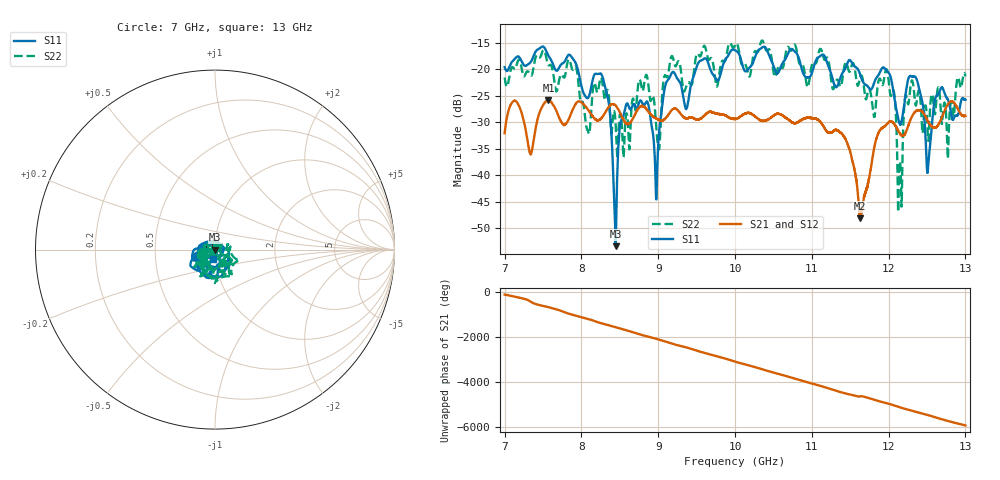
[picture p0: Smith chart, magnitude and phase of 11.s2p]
[Version] 2.0
! Rohde & Schwarz Vector Network Analyzer
! Rohde-Schwarz,ZNL20-2Port,1323001220200009,1.71.1.10-23.02.1.238
! Port Assignments:
! Nominal Port -> Actual Test Port
!  1 -> 1
!  2 -> 2
! Created: GMT+3 2024-09-24 15:13:27
# Hz S DB R 50
[Number of Ports] 2
[Two-Port Data Order] 21_12
! freq[Hz]  S11[mag dB]  S11[ang]  S21[mag dB]  S21[ang]  S12[mag dB]  S12[ang]  S22[mag dB]  S22[ang]
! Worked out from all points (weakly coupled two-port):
!   6001 points, 7 GHz to 13 GHz, reference 50 ohm
!   highest |S21| = -25.82 dB at 7.57 GHz (marker M1); lowest = -48.1 dB at 11.63 GHz (marker M2)
!   lowest |S11| = -53.4 dB at 8.446 GHz (marker M3), VSWR 1.00, Z = 50.2 - j0.102 ohm
!   |S11| at or under -10 dB: start of sweep to end of sweep
!   |S22| runs from -47.0 to -14.6 dB; largest |S21 - S12| = 0.00073
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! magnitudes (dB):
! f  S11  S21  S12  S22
! 7 GHz  -19.6  -32.1  -32.1  -21.6
! 7.15 GHz  -17.8  -26.1  -26.1  -19.6
! 7.341 GHz  -18.6  -36.0  -36.1  -21.2
! 7.57 GHz  -17.5  -25.8  -25.8  -19.2
! 8 GHz  -23.2  -26.3  -26.3  -26.2
! 8.288 GHz  -22.1  -28.7  -28.8  -24.3
! 8.446 GHz  -53.4  -26.9  -26.8  -30.5
! 8.589 GHz  -26.6  -30.3  -30.3  -28.3
! 8.845 GHz  -26.1  -27.5  -27.5  -21.1
! 9 GHz  -34.3  -29.5  -29.5  -34.7
! 9.174 GHz  -20.8  -27.8  -27.8  -17.6
! 9.366 GHz  -27.5  -29.3  -29.3  -23.2
! 10 GHz  -16.4  -29.4  -29.4  -15.5
! 11 GHz  -20.8  -29.2  -29.2  -19.2
! 11.43 GHz  -20.0  -33.0  -33.0  -18.9
! 11.63 GHz  -21.1  -48.1  -48.0  -21.4
! 12 GHz  -20.7  -30.0  -30.0  -22.1
! 12.15 GHz  -30.3  -32.1  -32.1  -37.5
! 12.3 GHz  -21.4  -29.1  -29.0  -22.2
! 12.51 GHz  -38.6  -29.9  -29.9  -33.2
! 12.67 GHz  -24.0  -29.9  -29.9  -25.2
! 13 GHz  -25.8  -28.8  -28.8  -21.4
